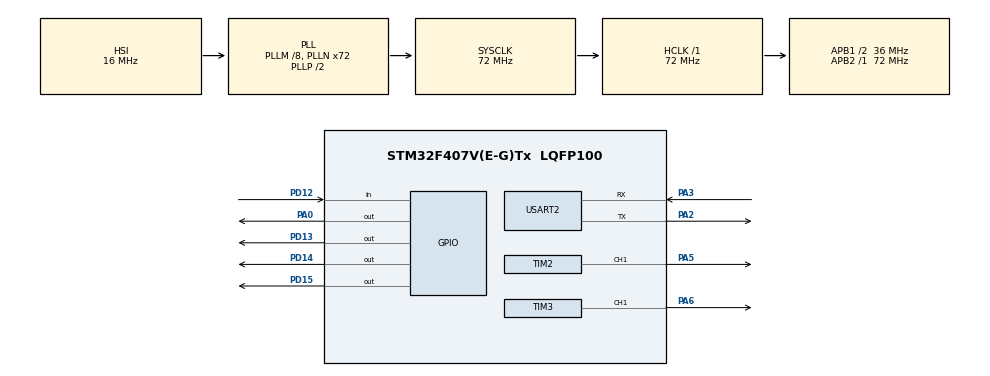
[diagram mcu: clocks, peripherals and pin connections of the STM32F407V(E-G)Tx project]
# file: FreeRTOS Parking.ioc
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Mcu.Family=STM32F4
Mcu.Name=STM32F407V(E-G)Tx
Mcu.Package=LQFP100
NVIC.PriorityGroup=NVIC_PRIORITYGROUP_4
NVIC.USART2_IRQn=true\:0\:0\:false\:false\:true\:true\:true\:true
PA0-WKUP.Signal=GPIO_Output
PA13.Mode=Serial_Wire
PA13.Signal=SYS_JTMS-SWDIO
PA14.Mode=Serial_Wire
PA14.Signal=SYS_JTCK-SWCLK
PA2.Mode=Asynchronous
PA2.Signal=USART2_TX
PA3.Mode=Asynchronous
PA3.Signal=USART2_RX
PA5.Signal=S_TIM2_CH1_ETR
PA6.Signal=S_TIM3_CH1
PD12.Signal=GPIO_Input
PD13.Signal=GPIO_Output
PD14.Signal=GPIO_Output
PD15.Signal=GPIO_Output
PH0-OSC_IN.Mode=HSE-External-Oscillator
PH0-OSC_IN.Signal=RCC_OSC_IN
PH1-OSC_OUT.Mode=HSE-External-Oscillator
PH1-OSC_OUT.Signal=RCC_OSC_OUT
ProjectManager.HeapSize=0x200
ProjectManager.StackSize=0x400
ProjectManager.TargetToolchain=STM32CubeIDE
RCC.48MHZClocksFreq_Value=36000000
RCC.AHBFreq_Value=72000000
RCC.APB1CLKDivider=RCC_HCLK_DIV2
RCC.APB1Freq_Value=36000000
RCC.APB1TimFreq_Value=72000000
RCC.APB2Freq_Value=72000000
RCC.APB2TimFreq_Value=72000000
RCC.CortexFreq_Value=72000000
RCC.HCLKFreq_Value=72000000
RCC.HSE_VALUE=25000000
RCC.HSI_VALUE=16000000
RCC.LSE_VALUE=32768
RCC.PLLM=8
RCC.PLLN=72
RCC.SYSCLKFreq_VALUE=72000000
RCC.SYSCLKSource=RCC_SYSCLKSOURCE_PLLCLK
RCC.VCOOutputFreq_Value=144000000
SH.S_TIM2_CH1_ETR.0=TIM2_CH1,PWM Generation1 CH1
SH.S_TIM3_CH1.0=TIM3_CH1,PWM Generation1 CH1
TIM1.Prescaler=71
TIM2.Channel-PWM\ Generation1\ CH1=TIM_CHANNEL_1
TIM2.Period=65535
TIM2.Prescaler=150-1
TIM3.Channel-PWM\ Generation1\ CH1=TIM_CHANNEL_1
TIM3.Prescaler=150-1
USART2.VirtualMode=VM_ASYNC
VP_TIM1_VS_ClockSourceINT.Mode=Internal
VP_TIM2_VS_ClockSourceINT.Mode=Internal
VP_TIM3_VS_ClockSourceINT.Mode=Internal
board=custom

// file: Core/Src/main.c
/* USER CODE BEGIN Header */
/**
  ******************************************************************************
  * @file           : main.c
  * @brief          : Main program body
  ******************************************************************************
  * @attention
  *
  * Copyright (c) 2023 STMicroelectronics.
  * All rights reserved.
  *
  * This software is licensed under terms that can be found in the LICENSE file
  * in the root directory of this software component.
  * If no LICENSE file comes with this software, it is provided AS-IS.
  *
  ******************************************************************************
  */
/* USER CODE END Header */
#include "main.h"

/* USER CODE BEGIN Includes */
#include <stdio.h>
#include "FreeRTOS.h"
#include "FreeRTOSConfig.h"
#include "task.h"

/* USER CODE END Includes */

TIM_HandleTypeDef htim1;
TIM_HandleTypeDef htim2;
TIM_HandleTypeDef htim3;

UART_HandleTypeDef huart2;

/* USER CODE BEGIN PV */
TaskHandle_t xRedLEDTaskHandle;
TaskHandle_t xServoMotorTaskHandle;
/* USER CODE END PV */

void SystemClock_Config(void);
static void MX_GPIO_Init(void);
static void MX_TIM1_Init(void);
static void MX_USART2_UART_Init(void);
static void MX_TIM2_Init(void);
static void MX_TIM3_Init(void);
/* USER CODE BEGIN PFP */
void vRedLEDTask(void *pvParameters);
void vServoMotorTask(void *pvParameters);
/* USER CODE END PFP */

/* USER CODE BEGIN 0 */

int _write(int file , char *ptr , int len){
    HAL_UART_Transmit(&huart2, (uint8_t*)ptr, len , HAL_MAX_DELAY);
    return len;
}

/* USER CODE END 0 */

int main(void)
{

  /* MCU Configuration--------------------------------------------------------*/

  /* Reset of all peripherals, Initializes the Flash interface and the Systick. */
  HAL_Init();

  /* Configure the system clock */
  SystemClock_Config();

  /* Initialize all configured peripherals */
  MX_GPIO_Init();
  MX_TIM1_Init();
  MX_USART2_UART_Init();
  MX_TIM2_Init();
  MX_TIM3_Init();
  /* USER CODE BEGIN 2 */
  HAL_TIM_Base_Start(&htim1);
  HAL_TIM_PWM_Start(&htim2, TIM_CHANNEL_1);
  HAL_TIM_PWM_Start(&htim3, TIM_CHANNEL_1);
  xTaskCreate(vRedLEDTask, "Red LED Task", 128 , NULL , 1 , &xRedLEDTaskHandle);
  xTaskCreate(vServoMotorTask, "Servo Motor Task", 128 , NULL , 1 , &xServoMotorTaskHandle);
  vTaskStartScheduler();
  /* USER CODE END 2 */

  /* Infinite loop */
  while (1)
  {

    /* USER CODE BEGIN 3 */

//				if(HAL_GPIO_ReadPin(GPIOD,GPIO_PIN_13)==1){
//					TIM2->CCR1 = 180;
//					printf("Entrez! \n");
//					HAL_Delay(1000);
//				}
//				else{
//					TIM2->CCR1 = 550;
//					printf("Vide\n");
//					HAL_Delay(1000);
//				}

	  }
  /* USER CODE END 3 */
}

void SystemClock_Config(void)
{
  RCC_OscInitTypeDef RCC_OscInitStruct = {0};
  RCC_ClkInitTypeDef RCC_ClkInitStruct = {0};

  /** Configure the main internal regulator output voltage
  */
  __HAL_RCC_PWR_CLK_ENABLE();
  __HAL_PWR_VOLTAGESCALING_CONFIG(PWR_REGULATOR_VOLTAGE_SCALE1);

  /** Initializes the RCC Oscillators according to the specified parameters
  * in the RCC_OscInitTypeDef structure.
  */
  RCC_OscInitStruct.OscillatorType = RCC_OSCILLATORTYPE_HSI;
  RCC_OscInitStruct.HSIState = RCC_HSI_ON;
  RCC_OscInitStruct.HSICalibrationValue = RCC_HSICALIBRATION_DEFAULT;
  RCC_OscInitStruct.PLL.PLLState = RCC_PLL_ON;
  RCC_OscInitStruct.PLL.PLLSource = RCC_PLLSOURCE_HSI;
  RCC_OscInitStruct.PLL.PLLM = 8;
  RCC_OscInitStruct.PLL.PLLN = 72;
  RCC_OscInitStruct.PLL.PLLP = RCC_PLLP_DIV2;
  RCC_OscInitStruct.PLL.PLLQ = 4;
  if (HAL_RCC_OscConfig(&RCC_OscInitStruct) != HAL_OK)
  {
    Error_Handler();
  }

  /** Initializes the CPU, AHB and APB buses clocks
  */
  RCC_ClkInitStruct.ClockType = RCC_CLOCKTYPE_HCLK|RCC_CLOCKTYPE_SYSCLK
                              |RCC_CLOCKTYPE_PCLK1|RCC_CLOCKTYPE_PCLK2;
  RCC_ClkInitStruct.SYSCLKSource = RCC_SYSCLKSOURCE_PLLCLK;
  RCC_ClkInitStruct.AHBCLKDivider = RCC_SYSCLK_DIV1;
  RCC_ClkInitStruct.APB1CLKDivider = RCC_HCLK_DIV2;
  RCC_ClkInitStruct.APB2CLKDivider = RCC_HCLK_DIV1;

  if (HAL_RCC_ClockConfig(&RCC_ClkInitStruct, FLASH_LATENCY_2) != HAL_OK)
  {
    Error_Handler();
  }
}

static void MX_TIM1_Init(void)
{

  TIM_ClockConfigTypeDef sClockSourceConfig = {0};
  TIM_MasterConfigTypeDef sMasterConfig = {0};

  htim1.Instance = TIM1;
  htim1.Init.Prescaler = 71;
  htim1.Init.CounterMode = TIM_COUNTERMODE_UP;
  htim1.Init.Period = 65535;
  htim1.Init.ClockDivision = TIM_CLOCKDIVISION_DIV1;
  htim1.Init.RepetitionCounter = 0;
  htim1.Init.AutoReloadPreload = TIM_AUTORELOAD_PRELOAD_DISABLE;
  if (HAL_TIM_Base_Init(&htim1) != HAL_OK)
  {
    Error_Handler();
  }
  sClockSourceConfig.ClockSource = TIM_CLOCKSOURCE_INTERNAL;
  if (HAL_TIM_ConfigClockSource(&htim1, &sClockSourceConfig) != HAL_OK)
  {
    Error_Handler();
  }
  sMasterConfig.MasterOutputTrigger = TIM_TRGO_RESET;
  sMasterConfig.MasterSlaveMode = TIM_MASTERSLAVEMODE_DISABLE;
  if (HAL_TIMEx_MasterConfigSynchronization(&htim1, &sMasterConfig) != HAL_OK)
  {
    Error_Handler();
  }

}

static void MX_TIM2_Init(void)
{

  TIM_ClockConfigTypeDef sClockSourceConfig = {0};
  TIM_MasterConfigTypeDef sMasterConfig = {0};
  TIM_OC_InitTypeDef sConfigOC = {0};

  htim2.Instance = TIM2;
  htim2.Init.Prescaler = 150-1;
  htim2.Init.CounterMode = TIM_COUNTERMODE_UP;
  htim2.Init.Period = 65535;
  htim2.Init.ClockDivision = TIM_CLOCKDIVISION_DIV1;
  htim2.Init.AutoReloadPreload = TIM_AUTORELOAD_PRELOAD_DISABLE;
  if (HAL_TIM_Base_Init(&htim2) != HAL_OK)
  {
    Error_Handler();
  }
  sClockSourceConfig.ClockSource = TIM_CLOCKSOURCE_INTERNAL;
  if (HAL_TIM_ConfigClockSource(&htim2, &sClockSourceConfig) != HAL_OK)
  {
    Error_Handler();
  }
  if (HAL_TIM_PWM_Init(&htim2) != HAL_OK)
  {
    Error_Handler();
  }
  sMasterConfig.MasterOutputTrigger = TIM_TRGO_RESET;
  sMasterConfig.MasterSlaveMode = TIM_MASTERSLAVEMODE_DISABLE;
  if (HAL_TIMEx_MasterConfigSynchronization(&htim2, &sMasterConfig) != HAL_OK)
  {
    Error_Handler();
  }
  sConfigOC.OCMode = TIM_OCMODE_PWM1;
  sConfigOC.Pulse = 0;
  sConfigOC.OCPolarity = TIM_OCPOLARITY_HIGH;
  sConfigOC.OCFastMode = TIM_OCFAST_DISABLE;
  if (HAL_TIM_PWM_ConfigChannel(&htim2, &sConfigOC, TIM_CHANNEL_1) != HAL_OK)
  {
    Error_Handler();
  }
  HAL_TIM_MspPostInit(&htim2);

}

static void MX_TIM3_Init(void)
{

  TIM_ClockConfigTypeDef sClockSourceConfig = {0};
  TIM_MasterConfigTypeDef sMasterConfig = {0};
  TIM_OC_InitTypeDef sConfigOC = {0};

  htim3.Instance = TIM3;
  htim3.Init.Prescaler = 150-1;
  htim3.Init.CounterMode = TIM_COUNTERMODE_UP;
  htim3.Init.Period = 65535;
  htim3.Init.ClockDivision = TIM_CLOCKDIVISION_DIV1;
  htim3.Init.AutoReloadPreload = TIM_AUTORELOAD_PRELOAD_DISABLE;
  if (HAL_TIM_Base_Init(&htim3) != HAL_OK)
  {
    Error_Handler();
  }
  sClockSourceConfig.ClockSource = TIM_CLOCKSOURCE_INTERNAL;
  if (HAL_TIM_ConfigClockSource(&htim3, &sClockSourceConfig) != HAL_OK)
  {
    Error_Handler();
  }
  if (HAL_TIM_PWM_Init(&htim3) != HAL_OK)
  {
    Error_Handler();
  }
  sMasterConfig.MasterOutputTrigger = TIM_TRGO_RESET;
  sMasterConfig.MasterSlaveMode = TIM_MASTERSLAVEMODE_DISABLE;
  if (HAL_TIMEx_MasterConfigSynchronization(&htim3, &sMasterConfig) != HAL_OK)
  {
    Error_Handler();
  }
  sConfigOC.OCMode = TIM_OCMODE_PWM1;
  sConfigOC.Pulse = 0;
  sConfigOC.OCPolarity = TIM_OCPOLARITY_HIGH;
  sConfigOC.OCFastMode = TIM_OCFAST_DISABLE;
  if (HAL_TIM_PWM_ConfigChannel(&htim3, &sConfigOC, TIM_CHANNEL_1) != HAL_OK)
  {
    Error_Handler();
  }
  HAL_TIM_MspPostInit(&htim3);

}

static void MX_USART2_UART_Init(void)
{

  huart2.Instance = USART2;
  huart2.Init.BaudRate = 115200;
  huart2.Init.WordLength = UART_WORDLENGTH_8B;
  huart2.Init.StopBits = UART_STOPBITS_1;
  huart2.Init.Parity = UART_PARITY_NONE;
  huart2.Init.Mode = UART_MODE_TX_RX;
  huart2.Init.HwFlowCtl = UART_HWCONTROL_NONE;
  huart2.Init.OverSampling = UART_OVERSAMPLING_16;
  if (HAL_UART_Init(&huart2) != HAL_OK)
  {
    Error_Handler();
  }

}

static void MX_GPIO_Init(void)
{
  GPIO_InitTypeDef GPIO_InitStruct = {0};

  /* GPIO Ports Clock Enable */
  __HAL_RCC_GPIOH_CLK_ENABLE();
  __HAL_RCC_GPIOA_CLK_ENABLE();
  __HAL_RCC_GPIOD_CLK_ENABLE();

  /*Configure GPIO pin Output Level */
  HAL_GPIO_WritePin(GPIOA, GPIO_PIN_0, GPIO_PIN_RESET);

  /*Configure GPIO pin Output Level */
  HAL_GPIO_WritePin(GPIOD, GPIO_PIN_13|GPIO_PIN_14|GPIO_PIN_15, GPIO_PIN_RESET);

  /*Configure GPIO pin : PA0 */
  GPIO_InitStruct.Pin = GPIO_PIN_0;
  GPIO_InitStruct.Mode = GPIO_MODE_OUTPUT_PP;
  GPIO_InitStruct.Pull = GPIO_NOPULL;
  GPIO_InitStruct.Speed = GPIO_SPEED_FREQ_LOW;
  HAL_GPIO_Init(GPIOA, &GPIO_InitStruct);

  /*Configure GPIO pin : PD12 */
  GPIO_InitStruct.Pin = GPIO_PIN_12;
  GPIO_InitStruct.Mode = GPIO_MODE_INPUT;
  GPIO_InitStruct.Pull = GPIO_NOPULL;
  HAL_GPIO_Init(GPIOD, &GPIO_InitStruct);

  /*Configure GPIO pins : PD13 PD14 PD15 */
  GPIO_InitStruct.Pin = GPIO_PIN_13|GPIO_PIN_14|GPIO_PIN_15;
  GPIO_InitStruct.Mode = GPIO_MODE_OUTPUT_PP;
  GPIO_InitStruct.Pull = GPIO_NOPULL;
  GPIO_InitStruct.Speed = GPIO_SPEED_FREQ_LOW;
  HAL_GPIO_Init(GPIOD, &GPIO_InitStruct);

}

/* USER CODE BEGIN 4 */
void vRedLEDTask(void *pvParameters){
	for(;;){
		if(HAL_GPIO_ReadPin(GPIOD,GPIO_PIN_13)==1){
			TIM3->CCR1 = 650;
			//printf("Entrez! \n");
			//HAL_Delay(1000);
		}
		else{
			TIM3->CCR1 = 300;
			//printf("Vide\n");
			//HAL_Delay(1000);
		}
	}

}
void vServoMotorTask(void *pvParameters){
	for(;;){
		if(HAL_GPIO_ReadPin(GPIOD,GPIO_PIN_14)==1){
			TIM2->CCR1 = 650;
			printf("7\n");
			vTaskDelay( 1000* configTICK_RATE_HZ /1000);
		}
		else{
			TIM2->CCR1 = 300;
			printf("6\n");
			vTaskDelay( 1000* configTICK_RATE_HZ /1000);
		}
	}

}
/* USER CODE END 4 */

void Error_Handler(void)
{
  __disable_irq();
  while (1)
  {
  }
}
